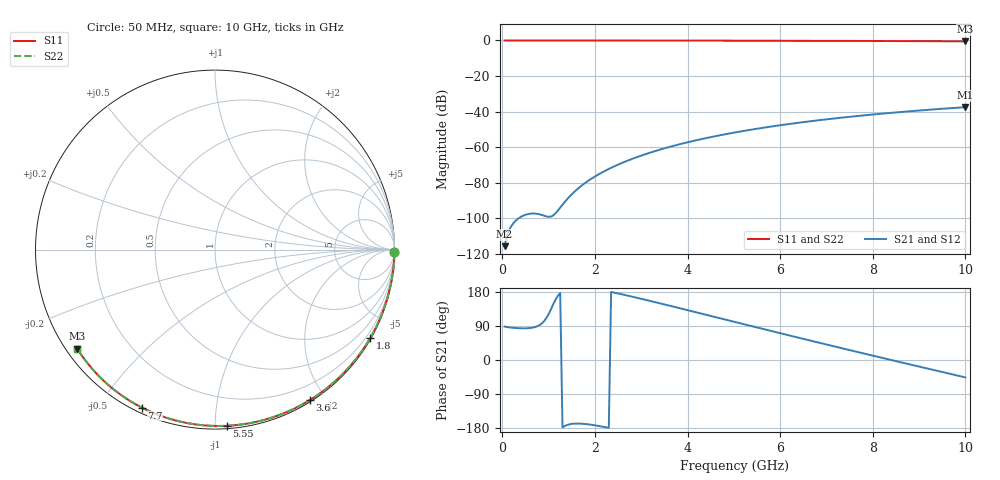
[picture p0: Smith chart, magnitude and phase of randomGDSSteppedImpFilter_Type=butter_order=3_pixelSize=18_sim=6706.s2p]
! freq	dB(S11)	phase(S11)	dB(S12)	phase(S12)
!  dB(S21)	phase(S21)	dB(S22)	phase(S22)
!S-par simulation data
#  GHz  S  DB  R 50
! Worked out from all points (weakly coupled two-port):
!   200 points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, 50 MHz to 10 GHz, reference 50 ohm
!   highest |S21| = -37.48 dB at 10 GHz (marker M1); lowest = -115.5 dB at 50 MHz (marker M2)
!   lowest |S11| = -0.5 dB at 10 GHz (marker M3), VSWR 35.54, Z = 1.55 - j16.1 ohm
!   |S11| at or under -10 dB: nowhere
!   |S22| runs from -0.5 to 0.0 dB; largest |S21 - S12| = 0
!   S11 on the Smith chart (normalised r, x): 50 MHz: open; 1.8 GHz: 0.03, -3.78; 3.6 GHz: 0.02, -1.81; 5.55 GHz: 0.02, -1.07; 7.7 GHz: 0.02, -0.64; 10 GHz: 0.03, -0.32
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0.05  -0.00 -0.8  -115.54 88.2  -115.54 88.2  -0.00 -0.8
0.45  -0.01 -7.5  -98.42 83.6  -98.42 83.6  -0.01 -7.5
0.9  -0.02 -15.0  -98.41 102.1  -98.41 102.1  -0.02 -15.0
1.3  -0.03 -21.5  -92.25 -177.9  -92.25 -177.9  -0.03 -21.5
1.75  -0.04 -28.8  -80.79 -168.4  -80.79 -168.4  -0.04 -28.8
1.8  -0.04 -29.6  -79.83 -169.0  -79.83 -169.0  -0.04 -29.6
1.95  -0.04 -32.1  -77.21 -171.4  -77.21 -171.4  -0.04 -32.1
2.1  -0.04 -34.5  -74.90 -174.4  -74.90 -174.4  -0.04 -34.5
2.3  -0.05 -37.7  -72.16 -179.2  -72.16 -179.2  -0.05 -37.7
2.5  -0.05 -40.8  -69.74 175.6  -69.74 175.6  -0.05 -40.8
2.9  -0.06 -47.1  -65.59 164.4  -65.59 164.4  -0.06 -47.1
3.4  -0.07 -54.8  -61.35 149.7  -61.35 149.7  -0.07 -54.8
3.6  -0.08 -57.8  -59.87 143.7  -59.87 143.7  -0.08 -57.8
4.3  -0.10 -68.3  -55.41 122.4  -55.41 122.4  -0.10 -68.3
5.05  -0.12 -79.1  -51.55 99.6  -51.55 99.6  -0.12 -79.1
5.55  -0.14 -86.2  -49.37 84.4  -49.37 84.4  -0.14 -86.2
6.1  -0.17 -93.7  -47.26 67.7  -47.26 67.7  -0.17 -93.7
6.7  -0.20 -101.8  -45.22 49.8  -45.22 49.8  -0.20 -101.8
7.7  -0.26 -114.9  -42.35 20.2  -42.35 20.2  -0.26 -114.9
8.35  -0.32 -123.3  -40.76 1.3  -40.76 1.3  -0.32 -123.3
9.2  -0.40 -134.1  -38.95 -23.1  -38.95 -23.1  -0.40 -134.1
10  -0.49 -144.2  -37.48 -45.9  -37.48 -45.9  -0.49 -144.2
